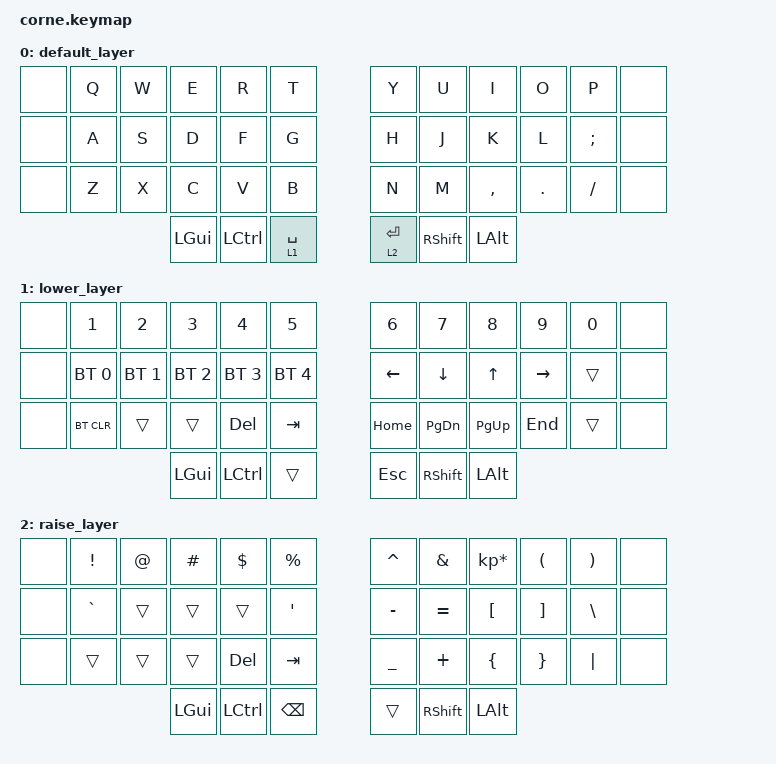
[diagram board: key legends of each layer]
/*
 * Copyright (c) 2020 The ZMK Contributors
 *
 * SPDX-License-Identifier: MIT
 */

#include <behaviors.dtsi>
#include <dt-bindings/zmk/keys.h>
#include <dt-bindings/zmk/bt.h>

&lt {
    tapping-term-ms = <200>;
};

/ {
        keymap {
                compatible = "zmk,keymap";

                default_layer {
// -----------------------------------------------------------------------------------------
// |      |  Q  |  W  |  E  |  R  |  T  |   |  Y  |  U   |  I  |  O  |  P  |      |
// |      |  A  |  S  |  D  |  F  |  G  |   |  H  |  J   |  K  |  L  |  ;  |      |
// |      |  Z  |  X  |  C  |  V  |  B  |   |  N  |  M   |  ,  |  .  |  /  |      |
//             | GUI | CTRL | LWR & SPC |   | RSE & ENT | SHIFT  | ALT |
                        bindings = <
   &none &kp Q &kp W &kp E &kp R &kp T    &kp Y &kp U  &kp I     &kp O   &kp P    &none
   &none &kp A &kp S &kp D &kp F &kp G    &kp H &kp J  &kp K     &kp L   &kp SEMI &none
   &none &kp Z &kp X &kp C &kp V &kp B    &kp N &kp M  &kp COMMA &kp DOT &kp FSLH &none
        &kp LGUI &kp LCTRL &lt 1 SPACE    &lt 2 RET &kp RSHIFT &kp LALT
                        >;
                };
                lower_layer {
// -----------------------------------------------------------------------------------------
// |     |  1  |  2  |  3  |  4  |  5  |   |  6   |   7   |  8   |  9  |  0  |      |
// |BTCLR| BT1 | BT2 | BT3 | BT4 | BT5 |   | LFT  |  DWN  |  UP  | RGT |     |      |
// |     |     |     |     | DEL | TAB |   | HOME |  PGDN | PGUP | END |     |      |
//                   | GUI | CTRL |    |   | ESC  | SHIFT | ALT  |
                        bindings = <
   &none &kp N1       &kp N2       &kp N3       &kp N4       &kp N5          &kp N6   &kp N7    &kp N8    &kp N9     &kp N0 &none
   &none &bt BT_SEL 0 &bt BT_SEL 1 &bt BT_SEL 2 &bt BT_SEL 3 &bt BT_SEL 4    &kp LEFT &kp DOWN  &kp UP    &kp RIGHT  &trans &none
   &none &bt BT_CLR       &trans       &trans       &kp DEL      &kp TAB         &kp HOME &kp PG_DN &kp PG_UP &kp END    &trans &none
                                               &kp LGUI  &kp LCTRL &trans    &kp ESC     &kp RSHIFT &kp LALT
                        >;
                };

                raise_layer {
// -----------------------------------------------------------------------------------------
// |      |  !  |  @  |  #  |  $   |  %   |   |  ^  |   &   |  *  |  (  |  )  |      |
// |      |  `  |     |     |      |  '   |   |  -  |   =   |  [  |  ]  |  \  |      |
// |      |     |     |     | DEL  | TAB  |   |  _  |   +   |  {  |  }  | "|" |      |
//                    | GUI | CTRL | BSPC |   |     | SHIFT | ALT |
                        bindings = <
   &none &kp EXCL  &kp AT &kp HASH &kp DLLR &kp PRCNT    &kp CARET &kp AMPS  &kp KP_MULTIPLY &kp LPAR &kp RPAR &none
   &none &kp GRAVE &trans &trans   &trans   &kp SQT      &kp MINUS &kp EQUAL &kp LBKT        &kp RBKT &kp BSLH &none
   &none &trans    &trans &trans   &kp DEL  &kp TAB      &kp UNDER &kp PLUS  &kp LBRC        &kp RBRC &kp PIPE &none
                          &kp LGUI &kp LCTRL &kp BSPC     &trans    &kp RSHIFT  &kp LALT
                        >;
                };
        };
};
